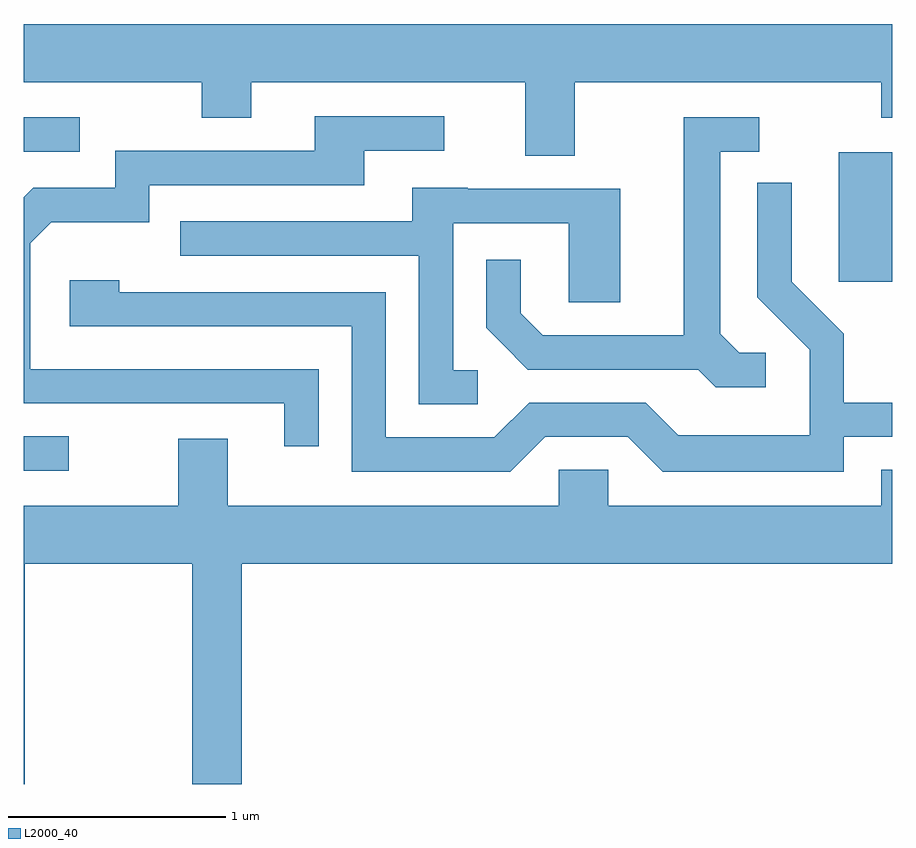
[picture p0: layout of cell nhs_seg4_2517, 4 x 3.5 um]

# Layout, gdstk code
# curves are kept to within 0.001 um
import gdstk
lib = gdstk.Library(unit=1e-6, precision=1e-09)
def R(c, l, rs):  # rectangles x0, y0, x1, y1
    for r in rs: c.add(gdstk.rectangle(r[:2], r[2:], *l))
def P(c, l, *ps):  # polygons
    for p in ps: c.add(gdstk.Polygon(p, *l))
L2000_40 = (2000, 40)

nhs_seg4_2517 = lib.new_cell('nhs_seg4_2517')
R(nhs_seg4_2517, L2000_40, [(259.611,1257.426,259.818,1257.584), (263.366,1258.296,263.611,1258.894), (259.611,1258.896,259.868,1259.054)])
P(nhs_seg4_2517, L2000_40, [(262.149,1259.216),(263.561,1259.216),(263.561,1259.051),(263.611,1259.051),(263.611,1259.484),(259.611,1259.484),(259.611,1259.216),(260.431,1259.216),(260.431,1259.051),(260.659,1259.051),(260.659,1259.216),(261.921,1259.216),(261.921,1258.876),(262.149,1258.876)],
  [(260.969,1257.894),(259.639,1257.894),(259.639,1258.474),(259.736,1258.571),(260.189,1258.571),(260.189,1258.741),(261.179,1258.741),(261.179,1258.901),(261.548,1258.901),(261.548,1259.059),(260.951,1259.059),(260.951,1258.899),(260.031,1258.899),(260.031,1258.729),(259.654,1258.729),(259.611,1258.686),(259.611,1257.736),(260.811,1257.736),(260.811,1257.538),(260.969,1257.538)],
  [(263.028,1257.969),(262.907,1257.969),(262.819,1258.057),(262.819,1258.896),(262.998,1258.896),(262.998,1259.054),(262.651,1259.054),(262.651,1258.049),(262.002,1258.049),(261.899,1258.152),(261.899,1258.398),(261.741,1258.398),(261.741,1258.084),(261.933,1257.891),(262.719,1257.891),(262.799,1257.811),(263.028,1257.811)],
  [(262.012,1257.581),(262.394,1257.581),(262.554,1257.421),(263.389,1257.421),(263.389,1257.581),(263.611,1257.581),(263.611,1257.739),(263.389,1257.739),(263.389,1258.057),(263.149,1258.297),(263.149,1258.753),(262.991,1258.753),(262.991,1258.224),(263.231,1257.984),(263.231,1257.589),(262.627,1257.589),(262.477,1257.739),(261.939,1257.739),(261.779,1257.579),(261.279,1257.579),(261.279,1258.249),(260.049,1258.249),(260.049,1258.304),(259.821,1258.304),(259.821,1258.091),(261.121,1258.091),(261.121,1257.421),(261.852,1257.421)],
  [(261.703,1257.889),(261.589,1257.889),(261.589,1258.566),(262.121,1258.566),(262.121,1258.201),(262.359,1258.201),(262.359,1258.724),(261.655,1258.724),(261.655,1258.729),(261.401,1258.729),(261.401,1258.574),(260.332,1258.574),(260.332,1258.416),(261.431,1258.416),(261.431,1257.731),(261.703,1257.731)],
  [(259.614,1256.996),(260.386,1256.996),(260.386,1255.982),(260.614,1255.982),(260.614,1256.996),(263.611,1256.996),(263.611,1257.429),(263.561,1257.429),(263.561,1257.264),(262.304,1257.264),(262.304,1257.429),(262.076,1257.429),(262.076,1257.264),(260.549,1257.264),(260.549,1257.574),(260.321,1257.574),(260.321,1257.264),(259.611,1257.264),(259.611,1255.982),(259.614,1255.982)])

lib.write_gds('nhs_seg4_2517.gds')
